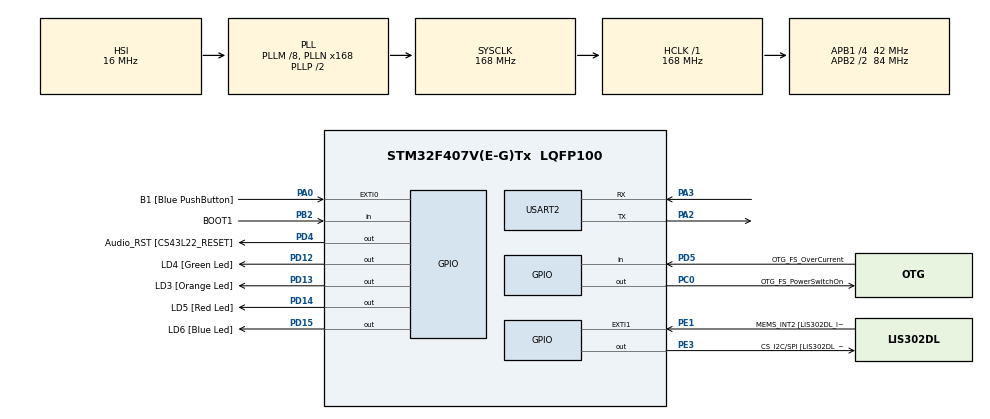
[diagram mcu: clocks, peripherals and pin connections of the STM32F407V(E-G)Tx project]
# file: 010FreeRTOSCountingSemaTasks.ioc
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Mcu.Family=STM32F4
Mcu.Name=STM32F407V(E-G)Tx
Mcu.Package=LQFP100
NVIC.PriorityGroup=NVIC_PRIORITYGROUP_4
NVIC.TIM6_DAC_IRQn=true\:0\:0\:false\:false\:true\:false\:true
NVIC.TimeBase=TIM6_DAC_IRQn
NVIC.TimeBaseIP=TIM6
PA0-WKUP.GPIO_Label=B1 [Blue PushButton]
PA0-WKUP.Signal=GPXTI0
PA10.GPIO_Label=OTG_FS_ID
PA10.GPIO_Mode=GPIO_MODE_AF_PP
PA10.GPIO_PuPd=GPIO_NOPULL
PA10.GPIO_Speed=GPIO_SPEED_FREQ_LOW
PA10.Signal=USB_OTG_FS_ID
PA11.GPIO_Label=OTG_FS_DM
PA11.GPIO_Mode=GPIO_MODE_AF_PP
PA11.GPIO_PuPd=GPIO_NOPULL
PA11.GPIO_Speed=GPIO_SPEED_FREQ_LOW
PA11.Signal=USB_OTG_FS_DM
PA12.GPIO_Label=OTG_FS_DP
PA12.GPIO_Mode=GPIO_MODE_AF_PP
PA12.GPIO_PuPd=GPIO_NOPULL
PA12.GPIO_Speed=GPIO_SPEED_FREQ_LOW
PA12.Signal=USB_OTG_FS_DP
PA13.GPIO_Label=SWDIO
PA13.Signal=SYS_JTMS-SWDIO
PA14.GPIO_Label=SWCLK
PA14.Signal=SYS_JTCK-SWCLK
PA2.Mode=Asynchronous
PA2.Signal=USART2_TX
PA3.Mode=Asynchronous
PA3.Signal=USART2_RX
PA4.GPIO_Label=I2S3_WS [CS43L22_LRCK]
PA4.GPIO_Mode=GPIO_MODE_AF_PP
PA4.GPIO_PuPd=GPIO_NOPULL
PA4.GPIO_Speed=GPIO_SPEED_FREQ_LOW
PA4.Signal=I2S3_WS
PA5.GPIO_Label=SPI1_SCK [LIS302DL_SCL/SPC]
PA5.GPIO_Mode=GPIO_MODE_AF_PP
PA5.GPIO_PuPd=GPIO_NOPULL
PA5.GPIO_Speed=GPIO_SPEED_FREQ_LOW
PA5.Signal=SPI1_SCK
PA6.GPIO_Label=SPI1_MISO [LIS302DL_SDO]
PA6.GPIO_Mode=GPIO_MODE_AF_PP
PA6.GPIO_PuPd=GPIO_NOPULL
PA6.GPIO_Speed=GPIO_SPEED_FREQ_LOW
PA6.Signal=SPI1_MISO
PA7.GPIO_Label=SPI1_MOSI [LIS302DL_SDA/SDI/SDO]
PA7.GPIO_Mode=GPIO_MODE_AF_PP
PA7.GPIO_PuPd=GPIO_NOPULL
PA7.GPIO_Speed=GPIO_SPEED_FREQ_LOW
PA7.Signal=SPI1_MOSI
PA9.GPIO_Label=VBUS_FS
PA9.GPIO_Mode=GPIO_MODE_INPUT
PA9.GPIO_PuPd=GPIO_NOPULL
PA9.Signal=USB_OTG_FS_VBUS
PB10.GPIO_Label=CLK_IN [MP45DT02_CLK]
PB10.GPIO_Mode=GPIO_MODE_AF_PP
PB10.GPIO_PuPd=GPIO_NOPULL
PB10.GPIO_Speed=GPIO_SPEED_FREQ_LOW
PB10.Signal=I2S2_CK
PB2.GPIO_Label=BOOT1
PB2.GPIO_Mode=GPIO_MODE_INPUT
PB2.GPIO_PuPd=GPIO_NOPULL
PB2.Signal=GPIO_Input
PB3.GPIO_Label=SWO
PB3.Signal=SYS_JTDO-SWO
PB6.GPIO_Label=Audio_SCL [CS43L22_SCL]
PB6.GPIO_Mode=GPIO_MODE_AF_OD
PB6.GPIO_PuPd=GPIO_NOPULL
PB6.GPIO_Speed=GPIO_SPEED_FREQ_LOW
PB6.Signal=I2C1_SCL
PB9.GPIO_Label=Audio_SDA [CS43L22_SDA]
PB9.GPIO_Mode=GPIO_MODE_AF_OD
PB9.GPIO_PuPd=GPIO_NOPULL
PB9.GPIO_Speed=GPIO_SPEED_FREQ_LOW
PB9.Signal=I2C1_SDA
PC0.GPIO_Label=OTG_FS_PowerSwitchOn
PC0.GPIO_PuPd=GPIO_NOPULL
PC0.GPIO_Speed=GPIO_SPEED_FREQ_LOW
PC0.PinState=GPIO_PIN_SET
PC0.Signal=GPIO_Output
PC10.GPIO_Label=I2S3_SCK [CS43L22_SCLK]
PC10.GPIO_Mode=GPIO_MODE_AF_PP
PC10.GPIO_PuPd=GPIO_NOPULL
PC10.GPIO_Speed=GPIO_SPEED_FREQ_LOW
PC10.Signal=I2S3_CK
PC12.GPIO_Label=I2S3_SD [CS43L22_SDIN]
PC12.GPIO_Mode=GPIO_MODE_AF_PP
PC12.GPIO_PuPd=GPIO_NOPULL
PC12.GPIO_Speed=GPIO_SPEED_FREQ_LOW
PC12.Signal=I2S3_SD
PC14-OSC32_IN.GPIO_Label=PC14-OSC32_IN
PC14-OSC32_IN.Signal=RCC_OSC32_IN
PC15-OSC32_OUT.GPIO_Label=PC15-OSC32_OUT
PC15-OSC32_OUT.Signal=RCC_OSC32_OUT
PC3.GPIO_Label=PDM_OUT [MP45DT02_DOUT]
PC3.GPIO_Mode=GPIO_MODE_AF_PP
PC3.GPIO_PuPd=GPIO_NOPULL
PC3.GPIO_Speed=GPIO_SPEED_FREQ_LOW
PC3.Signal=I2S2_SD
PC7.GPIO_Label=I2S3_MCK [CS43L22_MCLK]
PC7.GPIO_Mode=GPIO_MODE_AF_PP
PC7.GPIO_PuPd=GPIO_NOPULL
PC7.GPIO_Speed=GPIO_SPEED_FREQ_LOW
PC7.Signal=I2S3_MCK
PD12.GPIO_Label=LD4 [Green Led]
PD12.GPIO_PuPd=GPIO_NOPULL
PD12.GPIO_Speed=GPIO_SPEED_FREQ_LOW
PD12.Signal=GPIO_Output
PD13.GPIO_Label=LD3 [Orange Led]
PD13.GPIO_PuPd=GPIO_NOPULL
PD13.GPIO_Speed=GPIO_SPEED_FREQ_LOW
PD13.Signal=GPIO_Output
PD14.GPIO_Label=LD5 [Red Led]
PD14.GPIO_PuPd=GPIO_NOPULL
PD14.GPIO_Speed=GPIO_SPEED_FREQ_LOW
PD14.Signal=GPIO_Output
PD15.GPIO_Label=LD6 [Blue Led]
PD15.GPIO_PuPd=GPIO_NOPULL
PD15.GPIO_Speed=GPIO_SPEED_FREQ_LOW
PD15.Signal=GPIO_Output
PD4.GPIO_Label=Audio_RST [CS43L22_RESET]
PD4.GPIO_PuPd=GPIO_NOPULL
PD4.GPIO_Speed=GPIO_SPEED_FREQ_LOW
PD4.Signal=GPIO_Output
PD5.GPIO_Label=OTG_FS_OverCurrent
PD5.GPIO_Mode=GPIO_MODE_INPUT
PD5.GPIO_PuPd=GPIO_NOPULL
PD5.Signal=GPIO_Input
PE1.GPIO_Label=MEMS_INT2 [LIS302DL_INT2]
PE1.GPIO_ModeDefaultEXTI=GPIO_MODE_EVT_RISING
PE1.GPIO_PuPd=GPIO_NOPULL
PE1.Signal=GPXTI1
PE3.GPIO_Label=CS_I2C/SPI [LIS302DL_CS_I2C/SPI]
PE3.GPIO_PuPd=GPIO_NOPULL
PE3.GPIO_Speed=GPIO_SPEED_FREQ_LOW
PE3.Signal=GPIO_Output
PH0-OSC_IN.GPIO_Label=PH0-OSC_IN
PH0-OSC_IN.Signal=RCC_OSC_IN
PH1-OSC_OUT.GPIO_Label=PH1-OSC_OUT
PH1-OSC_OUT.Signal=RCC_OSC_OUT
ProjectManager.HeapSize=0x200
ProjectManager.StackSize=0x400
ProjectManager.TargetToolchain=STM32CubeIDE
RCC.48MHZClocksFreq_Value=48000000
RCC.AHBFreq_Value=168000000
RCC.APB1CLKDivider=RCC_HCLK_DIV4
RCC.APB1Freq_Value=42000000
RCC.APB1TimFreq_Value=84000000
RCC.APB2CLKDivider=RCC_HCLK_DIV2
RCC.APB2Freq_Value=84000000
RCC.APB2TimFreq_Value=168000000
RCC.CortexFreq_Value=168000000
RCC.HCLKFreq_Value=168000000
RCC.HSE_VALUE=8000000
RCC.HSI_VALUE=16000000
RCC.LSE_VALUE=32768
RCC.PLLM=8
RCC.PLLN=168
RCC.PLLQ=7
RCC.SYSCLKFreq_VALUE=168000000
RCC.SYSCLKSource=RCC_SYSCLKSOURCE_PLLCLK
RCC.VCOOutputFreq_Value=336000000
USART2.VirtualMode=VM_ASYNC
VP_SYS_VS_tim6.Mode=TIM6
board=STM32F407G-DISC1

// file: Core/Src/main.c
/* USER CODE BEGIN Header */
/**
  ******************************************************************************
  * @file           : main.c
  * @brief          : Main program body
  ******************************************************************************
  * @attention
  *
  * Copyright (c) 2024 STMicroelectronics.
  * All rights reserved.
  *
  * This software is licensed under terms that can be found in the LICENSE file
  * in the root directory of this software component.
  * If no LICENSE file comes with this software, it is provided AS-IS.
  *
  ******************************************************************************
  */
/* USER CODE END Header */
#include "main.h"

UART_HandleTypeDef huart2;

/* USER CODE BEGIN PV */
xSemaphoreHandle CountingSemaphore;

TaskHandle_t periodic_handle;
TaskHandle_t button_handle;

char usr_msg[250]={0};

#define DWT_CTRL		(*(volatile uint32_t*)0xE0001000)
/* USER CODE END PV */

void SystemClock_Config(void);
static void MX_GPIO_Init(void);
static void MX_USART2_UART_Init(void);
/* USER CODE BEGIN PFP */

void print_msg(char *usr_msg);

static void prvSetupSoftwareInterrupt();

static void vHandlertask(void *pvparameters);
static void vPeriodictask(void *pvparameters);
/* USER CODE END PFP */

int main(void)
{

  /* MCU Configuration--------------------------------------------------------*/

  /* Reset of all peripherals, Initializes the Flash interface and the Systick. */
  HAL_Init();

  /* Configure the system clock */
  SystemClock_Config();

  /* Initialize all configured peripherals */
  MX_GPIO_Init();
  MX_USART2_UART_Init();
  /* USER CODE BEGIN 2 */

 // DWT_CTRL |= (1<<0);

	//SEGGER_UART_init(500000);

	//SEGGER_SYSVIEW_Conf();
	//SEGGER_SYSVIEW_Start();

  sprintf(usr_msg,"Demo of usage of counting semaphore. \r\n");
  print_msg(usr_msg);

  CountingSemaphore = xSemaphoreCreateCounting(10,0);

  if(CountingSemaphore!= NULL)
  {
	  prvSetupSoftwareInterrupt();

	  xTaskCreate(vHandlertask, "Handler", 500, NULL, 1, &periodic_handle);

	  xTaskCreate(vPeriodictask, "Periodic", 500, NULL, 3, &button_handle);

	  vTaskStartScheduler();
  }
  /* If all is well we will never reach here as the scheduler will now be
      running the tasks.  If we do reach here then it is likely that there was
      insufficient heap memory available for a resource to be created. */

  /* USER CODE END 2 */

  /* Infinite loop */
  while (1)
  {

  }
}

void SystemClock_Config(void)
{
  RCC_OscInitTypeDef RCC_OscInitStruct = {0};
  RCC_ClkInitTypeDef RCC_ClkInitStruct = {0};

  /** Configure the main internal regulator output voltage
  */
  __HAL_RCC_PWR_CLK_ENABLE();
  __HAL_PWR_VOLTAGESCALING_CONFIG(PWR_REGULATOR_VOLTAGE_SCALE1);
  /** Initializes the RCC Oscillators according to the specified parameters
  * in the RCC_OscInitTypeDef structure.
  */
  RCC_OscInitStruct.OscillatorType = RCC_OSCILLATORTYPE_HSI;
  RCC_OscInitStruct.HSIState = RCC_HSI_ON;
  RCC_OscInitStruct.HSICalibrationValue = RCC_HSICALIBRATION_DEFAULT;
  RCC_OscInitStruct.PLL.PLLState = RCC_PLL_ON;
  RCC_OscInitStruct.PLL.PLLSource = RCC_PLLSOURCE_HSI;
  RCC_OscInitStruct.PLL.PLLM = 8;
  RCC_OscInitStruct.PLL.PLLN = 168;
  RCC_OscInitStruct.PLL.PLLP = RCC_PLLP_DIV2;
  RCC_OscInitStruct.PLL.PLLQ = 7;
  if (HAL_RCC_OscConfig(&RCC_OscInitStruct) != HAL_OK)
  {
    Error_Handler();
  }
  /** Initializes the CPU, AHB and APB buses clocks
  */
  RCC_ClkInitStruct.ClockType = RCC_CLOCKTYPE_HCLK|RCC_CLOCKTYPE_SYSCLK
                              |RCC_CLOCKTYPE_PCLK1|RCC_CLOCKTYPE_PCLK2;
  RCC_ClkInitStruct.SYSCLKSource = RCC_SYSCLKSOURCE_PLLCLK;
  RCC_ClkInitStruct.AHBCLKDivider = RCC_SYSCLK_DIV1;
  RCC_ClkInitStruct.APB1CLKDivider = RCC_HCLK_DIV4;
  RCC_ClkInitStruct.APB2CLKDivider = RCC_HCLK_DIV2;

  if (HAL_RCC_ClockConfig(&RCC_ClkInitStruct, FLASH_LATENCY_5) != HAL_OK)
  {
    Error_Handler();
  }
}

static void MX_USART2_UART_Init(void)
{

  huart2.Instance = USART2;
  huart2.Init.BaudRate = 115200;
  huart2.Init.WordLength = UART_WORDLENGTH_8B;
  huart2.Init.StopBits = UART_STOPBITS_1;
  huart2.Init.Parity = UART_PARITY_NONE;
  huart2.Init.Mode = UART_MODE_TX_RX;
  huart2.Init.HwFlowCtl = UART_HWCONTROL_NONE;
  huart2.Init.OverSampling = UART_OVERSAMPLING_16;
  if (HAL_UART_Init(&huart2) != HAL_OK)
  {
    Error_Handler();
  }

}

static void MX_GPIO_Init(void)
{
  GPIO_InitTypeDef GPIO_InitStruct = {0};

  /* GPIO Ports Clock Enable */
  __HAL_RCC_GPIOE_CLK_ENABLE();
  __HAL_RCC_GPIOC_CLK_ENABLE();
  __HAL_RCC_GPIOH_CLK_ENABLE();
  __HAL_RCC_GPIOA_CLK_ENABLE();
  __HAL_RCC_GPIOB_CLK_ENABLE();
  __HAL_RCC_GPIOD_CLK_ENABLE();

  /*Configure GPIO pin Output Level */
  HAL_GPIO_WritePin(CS_I2C_SPI_GPIO_Port, CS_I2C_SPI_Pin, GPIO_PIN_RESET);

  /*Configure GPIO pin Output Level */
  HAL_GPIO_WritePin(OTG_FS_PowerSwitchOn_GPIO_Port, OTG_FS_PowerSwitchOn_Pin, GPIO_PIN_SET);

  /*Configure GPIO pin Output Level */
  HAL_GPIO_WritePin(GPIOD, LD4_Pin|LD3_Pin|LD5_Pin|LD6_Pin
                          |Audio_RST_Pin, GPIO_PIN_RESET);

  /*Configure GPIO pin : CS_I2C_SPI_Pin */
  GPIO_InitStruct.Pin = CS_I2C_SPI_Pin;
  GPIO_InitStruct.Mode = GPIO_MODE_OUTPUT_PP;
  GPIO_InitStruct.Pull = GPIO_NOPULL;
  GPIO_InitStruct.Speed = GPIO_SPEED_FREQ_LOW;
  HAL_GPIO_Init(CS_I2C_SPI_GPIO_Port, &GPIO_InitStruct);

  /*Configure GPIO pin : OTG_FS_PowerSwitchOn_Pin */
  GPIO_InitStruct.Pin = OTG_FS_PowerSwitchOn_Pin;
  GPIO_InitStruct.Mode = GPIO_MODE_OUTPUT_PP;
  GPIO_InitStruct.Pull = GPIO_NOPULL;
  GPIO_InitStruct.Speed = GPIO_SPEED_FREQ_LOW;
  HAL_GPIO_Init(OTG_FS_PowerSwitchOn_GPIO_Port, &GPIO_InitStruct);

  /*Configure GPIO pin : PDM_OUT_Pin */
  GPIO_InitStruct.Pin = PDM_OUT_Pin;
  GPIO_InitStruct.Mode = GPIO_MODE_AF_PP;
  GPIO_InitStruct.Pull = GPIO_NOPULL;
  GPIO_InitStruct.Speed = GPIO_SPEED_FREQ_LOW;
  GPIO_InitStruct.Alternate = GPIO_AF5_SPI2;
  HAL_GPIO_Init(PDM_OUT_GPIO_Port, &GPIO_InitStruct);

  /*Configure GPIO pin : B1_Pin */
  GPIO_InitStruct.Pin = B1_Pin;
  GPIO_InitStruct.Mode = GPIO_MODE_IT_RISING;
  GPIO_InitStruct.Pull = GPIO_NOPULL;
  HAL_GPIO_Init(B1_GPIO_Port, &GPIO_InitStruct);

  /*Configure GPIO pin : I2S3_WS_Pin */
  GPIO_InitStruct.Pin = I2S3_WS_Pin;
  GPIO_InitStruct.Mode = GPIO_MODE_AF_PP;
  GPIO_InitStruct.Pull = GPIO_NOPULL;
  GPIO_InitStruct.Speed = GPIO_SPEED_FREQ_LOW;
  GPIO_InitStruct.Alternate = GPIO_AF6_SPI3;
  HAL_GPIO_Init(I2S3_WS_GPIO_Port, &GPIO_InitStruct);

  /*Configure GPIO pins : SPI1_SCK_Pin SPI1_MISO_Pin SPI1_MOSI_Pin */
  GPIO_InitStruct.Pin = SPI1_SCK_Pin|SPI1_MISO_Pin|SPI1_MOSI_Pin;
  GPIO_InitStruct.Mode = GPIO_MODE_AF_PP;
  GPIO_InitStruct.Pull = GPIO_NOPULL;
  GPIO_InitStruct.Speed = GPIO_SPEED_FREQ_LOW;
  GPIO_InitStruct.Alternate = GPIO_AF5_SPI1;
  HAL_GPIO_Init(GPIOA, &GPIO_InitStruct);

  /*Configure GPIO pin : BOOT1_Pin */
  GPIO_InitStruct.Pin = BOOT1_Pin;
  GPIO_InitStruct.Mode = GPIO_MODE_INPUT;
  GPIO_InitStruct.Pull = GPIO_NOPULL;
  HAL_GPIO_Init(BOOT1_GPIO_Port, &GPIO_InitStruct);

  /*Configure GPIO pin : CLK_IN_Pin */
  GPIO_InitStruct.Pin = CLK_IN_Pin;
  GPIO_InitStruct.Mode = GPIO_MODE_AF_PP;
  GPIO_InitStruct.Pull = GPIO_NOPULL;
  GPIO_InitStruct.Speed = GPIO_SPEED_FREQ_LOW;
  GPIO_InitStruct.Alternate = GPIO_AF5_SPI2;
  HAL_GPIO_Init(CLK_IN_GPIO_Port, &GPIO_InitStruct);

  /*Configure GPIO pins : LD4_Pin LD3_Pin LD5_Pin LD6_Pin
                           Audio_RST_Pin */
  GPIO_InitStruct.Pin = LD4_Pin|LD3_Pin|LD5_Pin|LD6_Pin
                          |Audio_RST_Pin;
  GPIO_InitStruct.Mode = GPIO_MODE_OUTPUT_PP;
  GPIO_InitStruct.Pull = GPIO_NOPULL;
  GPIO_InitStruct.Speed = GPIO_SPEED_FREQ_LOW;
  HAL_GPIO_Init(GPIOD, &GPIO_InitStruct);

  /*Configure GPIO pins : I2S3_MCK_Pin I2S3_SCK_Pin I2S3_SD_Pin */
  GPIO_InitStruct.Pin = I2S3_MCK_Pin|I2S3_SCK_Pin|I2S3_SD_Pin;
  GPIO_InitStruct.Mode = GPIO_MODE_AF_PP;
  GPIO_InitStruct.Pull = GPIO_NOPULL;
  GPIO_InitStruct.Speed = GPIO_SPEED_FREQ_LOW;
  GPIO_InitStruct.Alternate = GPIO_AF6_SPI3;
  HAL_GPIO_Init(GPIOC, &GPIO_InitStruct);

  /*Configure GPIO pin : VBUS_FS_Pin */
  GPIO_InitStruct.Pin = VBUS_FS_Pin;
  GPIO_InitStruct.Mode = GPIO_MODE_INPUT;
  GPIO_InitStruct.Pull = GPIO_NOPULL;
  HAL_GPIO_Init(VBUS_FS_GPIO_Port, &GPIO_InitStruct);

  /*Configure GPIO pins : OTG_FS_ID_Pin OTG_FS_DM_Pin OTG_FS_DP_Pin */
  GPIO_InitStruct.Pin = OTG_FS_ID_Pin|OTG_FS_DM_Pin|OTG_FS_DP_Pin;
  GPIO_InitStruct.Mode = GPIO_MODE_AF_PP;
  GPIO_InitStruct.Pull = GPIO_NOPULL;
  GPIO_InitStruct.Speed = GPIO_SPEED_FREQ_LOW;
  GPIO_InitStruct.Alternate = GPIO_AF10_OTG_FS;
  HAL_GPIO_Init(GPIOA, &GPIO_InitStruct);

  /*Configure GPIO pin : OTG_FS_OverCurrent_Pin */
  GPIO_InitStruct.Pin = OTG_FS_OverCurrent_Pin;
  GPIO_InitStruct.Mode = GPIO_MODE_INPUT;
  GPIO_InitStruct.Pull = GPIO_NOPULL;
  HAL_GPIO_Init(OTG_FS_OverCurrent_GPIO_Port, &GPIO_InitStruct);

  /*Configure GPIO pins : Audio_SCL_Pin Audio_SDA_Pin */
  GPIO_InitStruct.Pin = Audio_SCL_Pin|Audio_SDA_Pin;
  GPIO_InitStruct.Mode = GPIO_MODE_AF_OD;
  GPIO_InitStruct.Pull = GPIO_NOPULL;
  GPIO_InitStruct.Speed = GPIO_SPEED_FREQ_LOW;
  GPIO_InitStruct.Alternate = GPIO_AF4_I2C1;
  HAL_GPIO_Init(GPIOB, &GPIO_InitStruct);

  /*Configure GPIO pin : MEMS_INT2_Pin */
  GPIO_InitStruct.Pin = MEMS_INT2_Pin;
  GPIO_InitStruct.Mode = GPIO_MODE_EVT_RISING;
  GPIO_InitStruct.Pull = GPIO_NOPULL;
  HAL_GPIO_Init(MEMS_INT2_GPIO_Port, &GPIO_InitStruct);

}

/* USER CODE BEGIN 4 */

static void vHandlertask(void *pvparameters)
{
	/* As per most tasks, this task is implemented within an infinite loop. */
	while(1)
	{
		/* Use the semaphore to wait for the event.  The semaphore was created
		before the scheduler was started so before this task ran for the first
		time.  The task blocks indefinitely meaning this function call will only
		return once the semaphore has been successfully obtained - so there is no
		need to check the returned value. */
		xSemaphoreTake( CountingSemaphore, portMAX_DELAY );

		/* To get here the event must have occurred.  Process the event (in this
		case we just print out a message). */
		sprintf(usr_msg, "Handler task - Processing event.\r\n");
		print_msg(usr_msg);
		//SEGGER_SYSVIEW_PrintfTarget("Handler task - Processing event.\r\n");
	}
}
static void vPeriodictask(void *pvparameters)
{
	while(1)
	{
		vTaskDelay(pdMS_TO_TICKS(500));

		sprintf(usr_msg,"Periodic ask pending the interrupt.\r\n");
		print_msg(usr_msg);

		//SEGGER_SYSVIEW_PrintfTarget("Periodic ask pending the interrupt.\r\n");

		NVIC_SetPendingIRQ(EXTI15_10_IRQn);

		sprintf(usr_msg,"Periodic task resuming.\r\n");
		print_msg(usr_msg);
		//SEGGER_SYSVIEW_PrintfTarget("Periodic task resuming.\r\n");

	}
}

void print_msg(char *usr_msg)
{
	HAL_UART_Transmit(&huart2, (uint8_t*)usr_msg, strlen(usr_msg), HAL_MAX_DELAY);
}

static void prvSetupSoftwareInterrupt()
{
	/* here were simulating the button interrupt by manually setting the interrupt enable bit in the NVIC enable register*/

	/* The interrupt service routine uses an (interrupt safe) FreeRTOS API
	function so the interrupt priority must be at or below the priority defined
	by configSYSCALL_INTERRUPT_PRIORITY. */

	NVIC_SetPriority( EXTI15_10_IRQn, configLIBRARY_MAX_SYSCALL_INTERRUPT_PRIORITY );

	/* Enable the interrupt. */
	NVIC_EnableIRQ( EXTI15_10_IRQn );
}

void EXTI15_10_IRQHandler(void)
{

	BaseType_t xHigherPriorityTaskWoken= pdFALSE;

	/* 'Give' the semaphore multiple times.  The first will unblock the handler
		task, the following 'gives' are to demonstrate that the semaphore latches
		the events to allow the handler task to process them in turn without any
		events getting lost.  This simulates multiple interrupts being taken by the
		processor, even though in this case the events are simulated within a single
		interrupt occurrence.*/

	sprintf(usr_msg,"==>Button_handler\r\n");
	print_msg(usr_msg);
	//traceISR_ENTER();
	//SEGGER_SYSVIEW_PrintfTarget("==>Button_handler\r\n");

	xSemaphoreGiveFromISR(CountingSemaphore,&xHigherPriorityTaskWoken);
	xSemaphoreGiveFromISR(CountingSemaphore,&xHigherPriorityTaskWoken);
//	xSemaphoreGiveFromISR(CountingSemaphore,&xHigherPriorityTaskWoken);
	//xSemaphoreGiveFromISR(CountingSemaphore,&xHigherPriorityTaskWoken);
	//xSemaphoreGiveFromISR(CountingSemaphore,&xHigherPriorityTaskWoken);
	//traceISR_EXIT();
	/* Clear the software interrupt bit using the interrupt controllers  */

	/* Giving the semaphore may have unblocked a task - if it did and the
	unblocked task has a priority equal to or above the currently executing
	task then xHigherPriorityTaskWoken will have been set to pdTRUE and
	portEND_SWITCHING_ISR() will force a context switch to the newly unblocked
	higher priority task.

	NOTE: The syntax for forcing a context switch within an ISR varies between
	FreeRTOS ports.  The portEND_SWITCHING_ISR() macro is provided as part of
	the Cortex M3 port layer for this purpose.  taskYIELD() must never be called
	from an ISR! */

	portEND_SWITCHING_ISR( xHigherPriorityTaskWoken );
}
/* USER CODE END 4 */

void HAL_TIM_PeriodElapsedCallback(TIM_HandleTypeDef *htim)
{
  if (htim->Instance == TIM6) {
    HAL_IncTick();
  }
}

void Error_Handler(void)
{
  __disable_irq();
  while (1)
  {
  }
}
